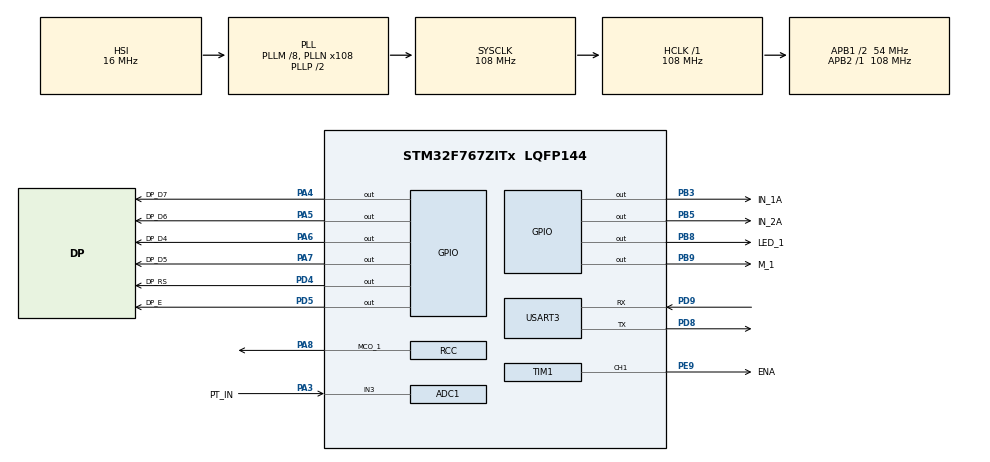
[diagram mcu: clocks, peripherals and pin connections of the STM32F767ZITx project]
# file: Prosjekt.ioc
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ADC1.Channel-0\#ChannelRegularConversion=ADC_CHANNEL_3
ADC1.NbrOfConversion=1
ADC1.NbrOfConversionFlag=1
ADC1.Rank-0\#ChannelRegularConversion=1
ADC1.SamplingTime-0\#ChannelRegularConversion=ADC_SAMPLETIME_3CYCLES
ADC1.master=1
Mcu.Family=STM32F7
Mcu.Name=STM32F767ZITx
Mcu.Package=LQFP144
NVIC.PriorityGroup=NVIC_PRIORITYGROUP_4
NVIC.USART3_IRQn=true\:0\:0\:false\:false\:true\:true\:true\:true
PA3.GPIO_Label=PT_IN
PA3.Signal=ADCx_IN3
PA4.GPIO_Label=DP_D7
PA4.Signal=GPIO_Output
PA5.GPIO_Label=DP_D6
PA5.Signal=GPIO_Output
PA6.GPIO_Label=DP_D4
PA6.Signal=GPIO_Output
PA7.GPIO_Label=DP_D5
PA7.Signal=GPIO_Output
PA8.Mode=Clock-out-1
PA8.Signal=RCC_MCO_1
PB3.GPIO_Label=IN_1A
PB3.Signal=GPIO_Output
PB5.GPIO_Label=IN_2A
PB5.Signal=GPIO_Output
PB8.GPIO_Label=LED_1
PB8.Signal=GPIO_Output
PB9.GPIO_Label=M_1
PB9.Signal=GPIO_Output
PD4.GPIO_Label=DP_RS
PD4.Signal=GPIO_Output
PD5.GPIO_Label=DP_E
PD5.Signal=GPIO_Output
PD8.Mode=Asynchronous
PD8.Signal=USART3_TX
PD9.Mode=Asynchronous
PD9.Signal=USART3_RX
PE9.GPIO_Label=ENA
PE9.Signal=S_TIM1_CH1
PH0/OSC_IN.Mode=HSE-External-Oscillator
PH0/OSC_IN.Signal=RCC_OSC_IN
PH1/OSC_OUT.Mode=HSE-External-Oscillator
PH1/OSC_OUT.Signal=RCC_OSC_OUT
ProjectManager.HeapSize=0x200
ProjectManager.StackSize=0x400
ProjectManager.TargetToolchain=STM32CubeIDE
RCC.48MHZClocksFreq_Value=24000000
RCC.AHBFreq_Value=108000000
RCC.APB1CLKDivider=RCC_HCLK_DIV2
RCC.APB1Freq_Value=54000000
RCC.APB1TimFreq_Value=108000000
RCC.APB2Freq_Value=108000000
RCC.APB2TimFreq_Value=108000000
RCC.CortexFreq_Value=108000000
RCC.HCLKFreq_Value=108000000
RCC.HSE_VALUE=8000000
RCC.HSI_VALUE=16000000
RCC.LSE_VALUE=32768
RCC.PLLM=8
RCC.PLLMUL=RCC_PLL_MUL9
RCC.PLLN=108
RCC.PRESCALERUSB=RCC_USBCLKSOURCE_PLL_DIV1_5
RCC.SYSCLKFreq_VALUE=108000000
RCC.SYSCLKSource=RCC_SYSCLKSOURCE_PLLCLK
RCC.SYSCLKSourceVirtual=RCC_SYSCLKSOURCE_PLLCLK
RCC.USBFreq_Value=108000000
RCC.VCOOutputFreq_Value=216000000
SH.ADCx_IN3.0=ADC1_IN3,IN3
SH.S_TIM1_CH1.0=TIM1_CH1,PWM Generation1 CH1
TIM1.Channel-PWM\ Generation1\ CH1=TIM_CHANNEL_1
TIM1.Period=999
TIM1.Prescaler=108-1
TIM2.Prescaler=108-1
USART3.VirtualMode-Asynchronous=VM_ASYNC
VP_TIM1_VS_ClockSourceINT.Mode=Internal
VP_TIM2_VS_ClockSourceINT.Mode=Internal
board=NUCLEO-F767ZI

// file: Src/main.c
/* USER CODE BEGIN Header */
/**
  ******************************************************************************
  * @file           : main.c
  * @brief          : Main program body
  ******************************************************************************
  * @attention
  *
  * Copyright (c) 2025 STMicroelectronics.
  * All rights reserved.
  *
  * This software is licensed under terms that can be found in the LICENSE file
  * in the root directory of this software component.
  * If no LICENSE file comes with this software, it is provided AS-IS.
  *
  ******************************************************************************
  */
/* USER CODE END Header */
#include "main.h"

/* USER CODE BEGIN Includes */
#include <stdio.h>
#include <string.h>
/* USER CODE END Includes */

/* USER CODE BEGIN PD */
#define VREF            3.3f
#define ADC_MAX         4095.0f
#define R1_OHMS             217.0f     // din målte serie-motstand
#define PT100_R0            100.0f
#define PT100_ALPHA         0.00385f

// Kalibrering fra isvann (~0°C):
#define PT100_OFFSET_OHM    3.40f     // sett = (målt_R_i_isvann - 100.00)

// Hysterese for på/av
#define THRESH_ON_C         70.0f
#define THRESH_OFF_C        75.0f

/* USER CODE END PD */

ADC_HandleTypeDef hadc1;

TIM_HandleTypeDef htim1;
TIM_HandleTypeDef htim2;

UART_HandleTypeDef huart3;

/* USER CODE BEGIN PV */

// tidsplanlegging (TIM2 = 1 MHz i ditt oppsett)
uint32_t meas_no      = 0;      // målingsnummer
uint32_t uptime_sec   = 0;      // antall sekunder siden oppstart
uint32_t next_1s_us   = 0;      // neste tidspunkt for 1s-jobben (TIM2-ticks)
uint32_t next_5s_us   = 0;      // neste tidspunkt for 5s-jobben

// sist målte verdier (brukes i 5s-CSV uten å måle på nytt)
float    last_vpt     = 0.0f;
float    last_rpt_raw = 0.0f;
float    last_rpt_cal = 0.0f;
float    last_tempC   = 0.0f;
uint32_t last_adc     = 0;

/* USER CODE END PV */

void SystemClock_Config(void);
static void MX_GPIO_Init(void);
static void MX_TIM1_Init(void);
static void MX_ADC1_Init(void);
static void MX_USART3_UART_Init(void);
static void MX_TIM2_Init(void);
/* USER CODE BEGIN PFP */

float measure_read(float* rpt_raw_out, float* vpt_out, uint32_t* adc_out);
void  actuate_from_temp(float tempC);

/* USER CODE END PFP */

/* USER CODE BEGIN 0 */

//Hjelpe funksjon for å gjøre utskrift med UART lettere:
extern UART_HandleTypeDef huart3;

static void uart_println(const char* s)
{
  HAL_UART_Transmit(&huart3, (uint8_t*)s, (uint16_t)strlen(s), 100);
}

// Måling + beregning: fyller ut Rpt_raw og Vpt, returnerer TempC (fra kalibrert R)
float measure_read(float* rpt_raw_out, float* vpt_out, uint32_t* adc_out)
{
  // 1) ADC
  HAL_ADC_Start(&hadc1);
  HAL_ADC_PollForConversion(&hadc1, 100);
  uint32_t adc = HAL_ADC_GetValue(&hadc1);

  // 2) Vpt for visning
  float vpt = (float)adc * (VREF / ADC_MAX);

  // 3) Rpt rå (uavhengig av Vref)
  float rpt_raw = ((float)adc / (ADC_MAX - (float)adc)) * R1_OHMS;

  // 4) Kalibrer R
  float rpt_cal = rpt_raw - PT100_OFFSET_OHM;
  if (rpt_cal < 0.0f) rpt_cal = 0.0f;

  // 5) R -> T
  float tempC = ((rpt_cal / PT100_R0) - 1.0f) / PT100_ALPHA;

  // 6) Utparametre
  if (rpt_raw_out) *rpt_raw_out = rpt_raw;
  if (vpt_out)     *vpt_out     = vpt;
  if (adc_out)     *adc_out     = adc;

  return tempC;
}

// Styr LED (PB8) og motor (PB9) med hysterese
void actuate_from_temp(float tempC)
{
  static uint8_t motor_on = 0;

  if (!motor_on && tempC >= THRESH_ON_C)  motor_on = 1;
  if ( motor_on && tempC <= THRESH_OFF_C) motor_on = 0;

  // LED på PB8 speiler motorstatus
  HAL_GPIO_WritePin(GPIOB, GPIO_PIN_8, motor_on ? GPIO_PIN_SET : GPIO_PIN_RESET);

  // Motor på PB9
  HAL_GPIO_WritePin(GPIOB, GPIO_PIN_9, motor_on ? GPIO_PIN_SET : GPIO_PIN_RESET);
}
/* USER CODE END 0 */

int main(void)
{

  /* MCU Configuration--------------------------------------------------------*/

  /* Reset of all peripherals, Initializes the Flash interface and the Systick. */
  HAL_Init();

  /* Configure the system clock */
  SystemClock_Config();

  /* Initialize all configured peripherals */
  MX_GPIO_Init();
  MX_TIM1_Init();
  MX_ADC1_Init();
  MX_USART3_UART_Init();
  MX_TIM2_Init();
  /* USER CODE BEGIN 2 */

  // Start TIM2 som fri-løpende teller (1 tick = 1 us ved ditt oppsett)
  HAL_TIM_Base_Start(&htim2);

// Sett første triggere for 1s og 5s
  uint32_t now = __HAL_TIM_GET_COUNTER(&htim2);

  next_1s_us = now + 2100000u;     // 2.1 s
  next_5s_us = now + 5000000u;     // 5 s

  //Demo i starten for testing:
    // uart_println("\r\nELE201: ADC->UART demo, 115200 baud\r\n");

  /* USER CODE END 2 */

  /* Infinite loop */
  while (1)
  {

    /* USER CODE BEGIN 3 */

    uint32_t now = __HAL_TIM_GET_COUNTER(&htim2);

    // ---------------- 1) Hver 1 sekund: mål, styr IO, normal utskrift ----------------
    if ((int32_t)(now - next_1s_us) >= 0) {
      next_1s_us += 1000000u;    // planlegg neste 1 s
      uptime_sec++;
      meas_no++;

      // Mål: bruk din funksjon
      float rpt_raw, vpt, tempC;
      uint32_t adc;
      tempC = measure_read(&rpt_raw, &vpt, &adc);   // <- fyller ut & returnerer tempC

      // Styr IO: bruk din funksjon
      actuate_from_temp(tempC);

      // Lagre siste måling til 5s-CSV
      last_vpt     = vpt;
      last_rpt_raw = rpt_raw;
      last_rpt_cal = rpt_raw - PT100_OFFSET_OHM;
      if (last_rpt_cal < 0.0f) last_rpt_cal = 0.0f;
      last_tempC   = tempC;
      last_adc     = adc;

      // Normal utskrift (med målingsnummer)
      char line[128];
      int n = snprintf(line, sizeof(line),
        "#%lu  ADC=%lu  V=%.3f V  R_meas=%.2f ohm  R_cal=%.2f ohm  T=%.1f C\r\n",

        (unsigned long)meas_no,
        (unsigned long)last_adc,
        last_vpt,
        last_rpt_raw,
        last_rpt_cal,
        last_tempC);

      HAL_UART_Transmit(&huart3, (uint8_t*)line, (uint16_t)n, 100);
    }

    // ---------------- 2) Hver 5 sekund: ren CSV for Python ----------------
    if ((int32_t)(now - next_5s_us) >= 0) {
      next_5s_us += 5000000u;   // planlegg neste 5 s

      // DATA,<tid_s>,<temp_C>,<R_cal_ohm>,<Vpt_V>,<ADC>
      char csv[96];
      int m = snprintf(csv, sizeof(csv), "DATA,%lu,%.1f,%.2f,%.3f,%lu\r\n",
                      (unsigned long)uptime_sec,
                      last_tempC,
                      last_rpt_cal,
                      last_vpt,
                      (unsigned long)last_adc);

      HAL_UART_Transmit(&huart3, (uint8_t*)csv, (uint16_t)m, 100);
    }

    // Ingen HAL_Delay(); loopen “spinner” og trigges på tidspunktene over

  }
  /* USER CODE END 3 */
}

void SystemClock_Config(void)
{
  RCC_OscInitTypeDef RCC_OscInitStruct = {0};
  RCC_ClkInitTypeDef RCC_ClkInitStruct = {0};

  /** Configure the main internal regulator output voltage
  */
  __HAL_RCC_PWR_CLK_ENABLE();
  __HAL_PWR_VOLTAGESCALING_CONFIG(PWR_REGULATOR_VOLTAGE_SCALE3);

  /** Initializes the RCC Oscillators according to the specified parameters
  * in the RCC_OscInitTypeDef structure.
  */
  RCC_OscInitStruct.OscillatorType = RCC_OSCILLATORTYPE_HSI;
  RCC_OscInitStruct.HSIState = RCC_HSI_ON;
  RCC_OscInitStruct.HSICalibrationValue = RCC_HSICALIBRATION_DEFAULT;
  RCC_OscInitStruct.PLL.PLLState = RCC_PLL_ON;
  RCC_OscInitStruct.PLL.PLLSource = RCC_PLLSOURCE_HSI;
  RCC_OscInitStruct.PLL.PLLM = 8;
  RCC_OscInitStruct.PLL.PLLN = 108;
  RCC_OscInitStruct.PLL.PLLP = RCC_PLLP_DIV2;
  RCC_OscInitStruct.PLL.PLLQ = 2;
  RCC_OscInitStruct.PLL.PLLR = 2;
  if (HAL_RCC_OscConfig(&RCC_OscInitStruct) != HAL_OK)
  {
    Error_Handler();
  }

  /** Activate the Over-Drive mode
  */
  if (HAL_PWREx_EnableOverDrive() != HAL_OK)
  {
    Error_Handler();
  }

  /** Initializes the CPU, AHB and APB buses clocks
  */
  RCC_ClkInitStruct.ClockType = RCC_CLOCKTYPE_HCLK|RCC_CLOCKTYPE_SYSCLK
                              |RCC_CLOCKTYPE_PCLK1|RCC_CLOCKTYPE_PCLK2;
  RCC_ClkInitStruct.SYSCLKSource = RCC_SYSCLKSOURCE_PLLCLK;
  RCC_ClkInitStruct.AHBCLKDivider = RCC_SYSCLK_DIV1;
  RCC_ClkInitStruct.APB1CLKDivider = RCC_HCLK_DIV2;
  RCC_ClkInitStruct.APB2CLKDivider = RCC_HCLK_DIV1;

  if (HAL_RCC_ClockConfig(&RCC_ClkInitStruct, FLASH_LATENCY_3) != HAL_OK)
  {
    Error_Handler();
  }
  HAL_RCC_MCOConfig(RCC_MCO1, RCC_MCO1SOURCE_HSI, RCC_MCODIV_1);
}

static void MX_ADC1_Init(void)
{

  ADC_ChannelConfTypeDef sConfig = {0};

  /** Configure the global features of the ADC (Clock, Resolution, Data Alignment and number of conversion)
  */
  hadc1.Instance = ADC1;
  hadc1.Init.ClockPrescaler = ADC_CLOCK_SYNC_PCLK_DIV4;
  hadc1.Init.Resolution = ADC_RESOLUTION_12B;
  hadc1.Init.ScanConvMode = ADC_SCAN_DISABLE;
  hadc1.Init.ContinuousConvMode = DISABLE;
  hadc1.Init.DiscontinuousConvMode = DISABLE;
  hadc1.Init.ExternalTrigConvEdge = ADC_EXTERNALTRIGCONVEDGE_NONE;
  hadc1.Init.ExternalTrigConv = ADC_SOFTWARE_START;
  hadc1.Init.DataAlign = ADC_DATAALIGN_RIGHT;
  hadc1.Init.NbrOfConversion = 1;
  hadc1.Init.DMAContinuousRequests = DISABLE;
  hadc1.Init.EOCSelection = ADC_EOC_SINGLE_CONV;
  if (HAL_ADC_Init(&hadc1) != HAL_OK)
  {
    Error_Handler();
  }

  /** Configure for the selected ADC regular channel its corresponding rank in the sequencer and its sample time.
  */
  sConfig.Channel = ADC_CHANNEL_3;
  sConfig.Rank = ADC_REGULAR_RANK_1;
  sConfig.SamplingTime = ADC_SAMPLETIME_3CYCLES;
  if (HAL_ADC_ConfigChannel(&hadc1, &sConfig) != HAL_OK)
  {
    Error_Handler();
  }

}

static void MX_TIM1_Init(void)
{

  TIM_ClockConfigTypeDef sClockSourceConfig = {0};
  TIM_MasterConfigTypeDef sMasterConfig = {0};
  TIM_OC_InitTypeDef sConfigOC = {0};
  TIM_BreakDeadTimeConfigTypeDef sBreakDeadTimeConfig = {0};

  htim1.Instance = TIM1;
  htim1.Init.Prescaler = 108-1;
  htim1.Init.CounterMode = TIM_COUNTERMODE_UP;
  htim1.Init.Period = 999;
  htim1.Init.ClockDivision = TIM_CLOCKDIVISION_DIV1;
  htim1.Init.RepetitionCounter = 0;
  htim1.Init.AutoReloadPreload = TIM_AUTORELOAD_PRELOAD_DISABLE;
  if (HAL_TIM_Base_Init(&htim1) != HAL_OK)
  {
    Error_Handler();
  }
  sClockSourceConfig.ClockSource = TIM_CLOCKSOURCE_INTERNAL;
  if (HAL_TIM_ConfigClockSource(&htim1, &sClockSourceConfig) != HAL_OK)
  {
    Error_Handler();
  }
  if (HAL_TIM_PWM_Init(&htim1) != HAL_OK)
  {
    Error_Handler();
  }
  sMasterConfig.MasterOutputTrigger = TIM_TRGO_RESET;
  sMasterConfig.MasterOutputTrigger2 = TIM_TRGO2_RESET;
  sMasterConfig.MasterSlaveMode = TIM_MASTERSLAVEMODE_DISABLE;
  if (HAL_TIMEx_MasterConfigSynchronization(&htim1, &sMasterConfig) != HAL_OK)
  {
    Error_Handler();
  }
  sConfigOC.OCMode = TIM_OCMODE_PWM1;
  sConfigOC.Pulse = 0;
  sConfigOC.OCPolarity = TIM_OCPOLARITY_HIGH;
  sConfigOC.OCNPolarity = TIM_OCNPOLARITY_HIGH;
  sConfigOC.OCFastMode = TIM_OCFAST_DISABLE;
  sConfigOC.OCIdleState = TIM_OCIDLESTATE_RESET;
  sConfigOC.OCNIdleState = TIM_OCNIDLESTATE_RESET;
  if (HAL_TIM_PWM_ConfigChannel(&htim1, &sConfigOC, TIM_CHANNEL_1) != HAL_OK)
  {
    Error_Handler();
  }
  sBreakDeadTimeConfig.OffStateRunMode = TIM_OSSR_DISABLE;
  sBreakDeadTimeConfig.OffStateIDLEMode = TIM_OSSI_DISABLE;
  sBreakDeadTimeConfig.LockLevel = TIM_LOCKLEVEL_OFF;
  sBreakDeadTimeConfig.DeadTime = 0;
  sBreakDeadTimeConfig.BreakState = TIM_BREAK_DISABLE;
  sBreakDeadTimeConfig.BreakPolarity = TIM_BREAKPOLARITY_HIGH;
  sBreakDeadTimeConfig.BreakFilter = 0;
  sBreakDeadTimeConfig.Break2State = TIM_BREAK2_DISABLE;
  sBreakDeadTimeConfig.Break2Polarity = TIM_BREAK2POLARITY_HIGH;
  sBreakDeadTimeConfig.Break2Filter = 0;
  sBreakDeadTimeConfig.AutomaticOutput = TIM_AUTOMATICOUTPUT_DISABLE;
  if (HAL_TIMEx_ConfigBreakDeadTime(&htim1, &sBreakDeadTimeConfig) != HAL_OK)
  {
    Error_Handler();
  }
  HAL_TIM_MspPostInit(&htim1);

}

static void MX_TIM2_Init(void)
{

  TIM_ClockConfigTypeDef sClockSourceConfig = {0};
  TIM_MasterConfigTypeDef sMasterConfig = {0};

  htim2.Instance = TIM2;
  htim2.Init.Prescaler = 108-1;
  htim2.Init.CounterMode = TIM_COUNTERMODE_UP;
  htim2.Init.Period = 4294967295;
  htim2.Init.ClockDivision = TIM_CLOCKDIVISION_DIV1;
  htim2.Init.AutoReloadPreload = TIM_AUTORELOAD_PRELOAD_DISABLE;
  if (HAL_TIM_Base_Init(&htim2) != HAL_OK)
  {
    Error_Handler();
  }
  sClockSourceConfig.ClockSource = TIM_CLOCKSOURCE_INTERNAL;
  if (HAL_TIM_ConfigClockSource(&htim2, &sClockSourceConfig) != HAL_OK)
  {
    Error_Handler();
  }
  sMasterConfig.MasterOutputTrigger = TIM_TRGO_RESET;
  sMasterConfig.MasterSlaveMode = TIM_MASTERSLAVEMODE_DISABLE;
  if (HAL_TIMEx_MasterConfigSynchronization(&htim2, &sMasterConfig) != HAL_OK)
  {
    Error_Handler();
  }

}

static void MX_USART3_UART_Init(void)
{

  huart3.Instance = USART3;
  huart3.Init.BaudRate = 115200;
  huart3.Init.WordLength = UART_WORDLENGTH_8B;
  huart3.Init.StopBits = UART_STOPBITS_1;
  huart3.Init.Parity = UART_PARITY_NONE;
  huart3.Init.Mode = UART_MODE_TX_RX;
  huart3.Init.HwFlowCtl = UART_HWCONTROL_NONE;
  huart3.Init.OverSampling = UART_OVERSAMPLING_16;
  huart3.Init.OneBitSampling = UART_ONE_BIT_SAMPLE_DISABLE;
  huart3.AdvancedInit.AdvFeatureInit = UART_ADVFEATURE_NO_INIT;
  if (HAL_UART_Init(&huart3) != HAL_OK)
  {
    Error_Handler();
  }

}

static void MX_GPIO_Init(void)
{
  GPIO_InitTypeDef GPIO_InitStruct = {0};

  /* GPIO Ports Clock Enable */
  __HAL_RCC_GPIOH_CLK_ENABLE();
  __HAL_RCC_GPIOA_CLK_ENABLE();
  __HAL_RCC_GPIOE_CLK_ENABLE();
  __HAL_RCC_GPIOD_CLK_ENABLE();
  __HAL_RCC_GPIOB_CLK_ENABLE();

  /*Configure GPIO pin Output Level */
  HAL_GPIO_WritePin(GPIOA, DP_D7_Pin|DP_D6_Pin|DP_D4_Pin|DP_D5_Pin, GPIO_PIN_RESET);

  /*Configure GPIO pin Output Level */
  HAL_GPIO_WritePin(GPIOD, DP_RS_Pin|DP_E_Pin, GPIO_PIN_RESET);

  /*Configure GPIO pin Output Level */
  HAL_GPIO_WritePin(GPIOB, IN_1A_Pin|IN_2A_Pin|LED_1_Pin|M_1_Pin, GPIO_PIN_RESET);

  /*Configure GPIO pins : DP_D7_Pin DP_D6_Pin DP_D4_Pin DP_D5_Pin */
  GPIO_InitStruct.Pin = DP_D7_Pin|DP_D6_Pin|DP_D4_Pin|DP_D5_Pin;
  GPIO_InitStruct.Mode = GPIO_MODE_OUTPUT_PP;
  GPIO_InitStruct.Pull = GPIO_NOPULL;
  GPIO_InitStruct.Speed = GPIO_SPEED_FREQ_LOW;
  HAL_GPIO_Init(GPIOA, &GPIO_InitStruct);

  /*Configure GPIO pin : PA8 */
  GPIO_InitStruct.Pin = GPIO_PIN_8;
  GPIO_InitStruct.Mode = GPIO_MODE_AF_PP;
  GPIO_InitStruct.Pull = GPIO_NOPULL;
  GPIO_InitStruct.Speed = GPIO_SPEED_FREQ_LOW;
  GPIO_InitStruct.Alternate = GPIO_AF0_MCO;
  HAL_GPIO_Init(GPIOA, &GPIO_InitStruct);

  /*Configure GPIO pins : DP_RS_Pin DP_E_Pin */
  GPIO_InitStruct.Pin = DP_RS_Pin|DP_E_Pin;
  GPIO_InitStruct.Mode = GPIO_MODE_OUTPUT_PP;
  GPIO_InitStruct.Pull = GPIO_NOPULL;
  GPIO_InitStruct.Speed = GPIO_SPEED_FREQ_LOW;
  HAL_GPIO_Init(GPIOD, &GPIO_InitStruct);

  /*Configure GPIO pins : IN_1A_Pin IN_2A_Pin LED_1_Pin M_1_Pin */
  GPIO_InitStruct.Pin = IN_1A_Pin|IN_2A_Pin|LED_1_Pin|M_1_Pin;
  GPIO_InitStruct.Mode = GPIO_MODE_OUTPUT_PP;
  GPIO_InitStruct.Pull = GPIO_NOPULL;
  GPIO_InitStruct.Speed = GPIO_SPEED_FREQ_LOW;
  HAL_GPIO_Init(GPIOB, &GPIO_InitStruct);

}

void Error_Handler(void)
{
  __disable_irq();
  while (1)
  {
  }
}
